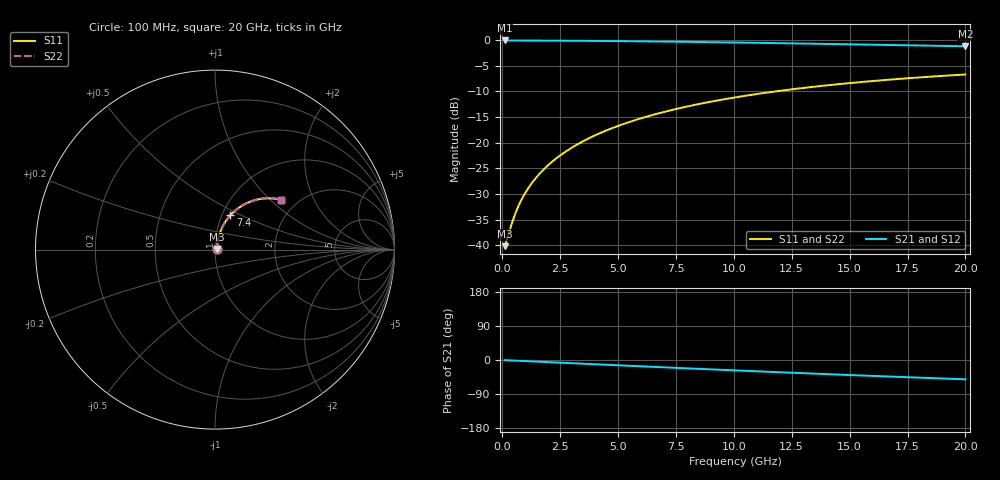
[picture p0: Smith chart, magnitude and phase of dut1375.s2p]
! Touchstone file exported from HFSS 2026.1.0
!  File:  C:/ffzhzh/LocalFiles/Ansys_Project_Files/temp_train_BSMRDL_1375_1783179454_51560.aedt
!  Generated:  11:38:53 PM Jul  4, 2026
!  Design:  BSMRDL
!  Project:  temp_train_BSMRDL_1375_1783179454_51560
! Variables:
!  h_bsmrdl = 2.13um
!  h_ox = 20um
!  h_rdl = 5um
!  h_sub = 80um
!  h_tmrdl = 5um
!  h_tsv = 80um
!  h_via = 3um
!  l_bsmrdl = 775.45um
!  l_sub = 1175.45um
!  l_tmrdl = 200um
!  m_sub = 200um
!  pitch = 32.67um
!  r_tsv = 6um
!  s_tmrdl = 10um
!  w_bsmrdl = 13.89um
!  w_sub = 500um
!  w_tmrdl = 12um
!  x_tsv_center1 = 206um
!  x_tsv_center2 = 995.34um
!  x_tsv_center3 = 1207.34um
!  x_tsv_center4 = 1996.68um
!  x_tsv_center5 = 2208.68um
!  x_tsv_center6 = 2998.02um
# GHz S MA R 50.000000
! Terminal data exported
! Port[1] = BSM_RDL1_1_T1
! Port[2] = BSM_RDL1_1_T2
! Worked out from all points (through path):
!   200 points, 100 MHz to 20 GHz, reference 50 ohm
!   highest |S21| = -0.08 dB at 100 MHz (marker M1); lowest = -1.2 dB at 20 GHz (marker M2)
!   group delay of S21, straight-line fit = 7.09 ps
!   lowest |S11| = -40.1 dB at 100 MHz (marker M3), VSWR 1.02, Z = 50.9 + j0.326 ohm
!   |S11| at or under -10 dB: start of sweep to 11.81 GHz
!   |S22| runs from -40.1 to -6.7 dB; largest |S21 - S12| = 2.6e-15
!   S11 on the Smith chart (normalised r, x): 100 MHz: 1.02, +0.01; 7.4 GHz: 1.10, +0.44; 20 GHz: 1.66, +1.17
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0.1  0.00984 19.0  0.9907 -0.3  0.9907 -0.3  0.00984 19.0
! Gamma 0 0 0 0
! Port Impedance 50 0 50 0
0.2  0.0114 34.0  0.9906 -0.6  0.9906 -0.6  0.0114 34.0
0.4  0.01607 51.8  0.9902 -1.2  0.9902 -1.2  0.01607 51.8
0.5  0.01873 56.7  0.99 -1.5  0.99 -1.5  0.01873 56.7
0.7  0.02427 63.0  0.9895 -2.0  0.9895 -2.0  0.02427 63.0
1  0.03271 68.0  0.9888 -2.9  0.9888 -2.9  0.03271 68.0
1.3  0.04118 70.6  0.9881 -3.7  0.9881 -3.7  0.04118 70.7
1.7  0.05252 72.6  0.9873 -4.9  0.9873 -4.9  0.05252 72.6
2.2  0.06676 73.7  0.9862 -6.2  0.9862 -6.2  0.06675 73.7
2.8  0.08387 73.9  0.9846 -7.9  0.9846 -7.9  0.08386 73.9
3.5  0.1038 73.4  0.9825 -9.9  0.9825 -9.9  0.1038 73.4
4.2  0.1236 72.4  0.9801 -11.8  0.9801 -11.8  0.1235 72.5
5  0.1459 71.0  0.9768 -14.0  0.9768 -14.0  0.1459 71.1
5.9  0.1706 69.2  0.9725 -16.5  0.9725 -16.5  0.1705 69.3
6.8  0.1947 67.2  0.9677 -18.9  0.9677 -18.9  0.1947 67.3
7.4  0.2104 65.8  0.9643 -20.5  0.9643 -20.5  0.2104 65.9
8.7  0.2435 62.7  0.9561 -23.9  0.9561 -23.9  0.2435 62.9
10.1  0.2774 59.4  0.9464 -27.6  0.9464 -27.6  0.2774 59.5
11.7  0.3139 55.6  0.9345 -31.6  0.9345 -31.6  0.3139 55.7
13.4  0.3498 51.6  0.9213 -35.8  0.9213 -35.8  0.3498 51.7
16.7  0.4113 44.0  0.895 -43.6  0.895 -43.6  0.4112 44.3
20  0.4619 36.8  0.8697 -51.0  0.8697 -51.0  0.4619 37.1
